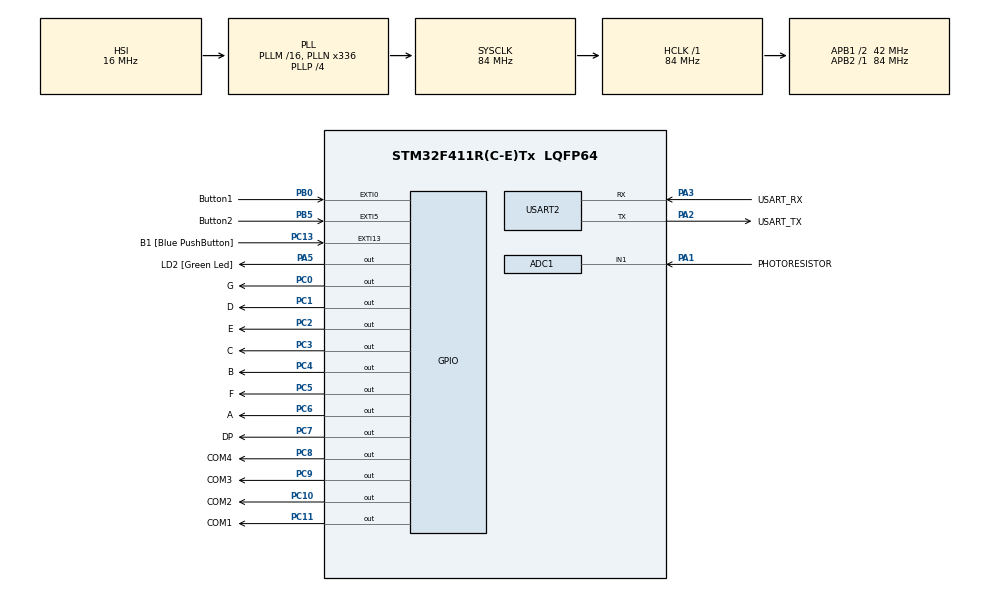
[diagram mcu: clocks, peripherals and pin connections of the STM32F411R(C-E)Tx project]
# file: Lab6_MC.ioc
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ADC1.Channel-0\#ChannelRegularConversion=ADC_CHANNEL_1
ADC1.Channel-1\#ChannelRegularConversion=ADC_CHANNEL_TEMPSENSOR
ADC1.ContinuousConvMode=DISABLE
ADC1.DMAContinuousRequests=ENABLE
ADC1.ExternalTrigConv=ADC_EXTERNALTRIGCONV_T2_TRGO
ADC1.NbrOfConversion=2
ADC1.NbrOfConversionFlag=1
ADC1.Rank-0\#ChannelRegularConversion=1
ADC1.Rank-1\#ChannelRegularConversion=2
ADC1.SamplingTime-0\#ChannelRegularConversion=ADC_SAMPLETIME_480CYCLES
ADC1.SamplingTime-1\#ChannelRegularConversion=ADC_SAMPLETIME_480CYCLES
ADC1.ScanConvMode=ENABLE
ADC1.master=1
Dma.ADC1.2.Direction=DMA_PERIPH_TO_MEMORY
Dma.ADC1.2.FIFOMode=DMA_FIFOMODE_DISABLE
Dma.ADC1.2.Instance=DMA2_Stream0
Dma.ADC1.2.MemDataAlignment=DMA_MDATAALIGN_HALFWORD
Dma.ADC1.2.MemInc=DMA_MINC_ENABLE
Dma.ADC1.2.Mode=DMA_CIRCULAR
Dma.ADC1.2.PeriphDataAlignment=DMA_PDATAALIGN_HALFWORD
Dma.ADC1.2.PeriphInc=DMA_PINC_DISABLE
Dma.ADC1.2.Priority=DMA_PRIORITY_LOW
Dma.Request0=USART2_RX
Dma.Request1=USART2_TX
Dma.Request2=ADC1
Dma.USART2_RX.0.Direction=DMA_PERIPH_TO_MEMORY
Dma.USART2_RX.0.FIFOMode=DMA_FIFOMODE_DISABLE
Dma.USART2_RX.0.Instance=DMA1_Stream5
Dma.USART2_RX.0.MemDataAlignment=DMA_MDATAALIGN_BYTE
Dma.USART2_RX.0.MemInc=DMA_MINC_ENABLE
Dma.USART2_RX.0.Mode=DMA_NORMAL
Dma.USART2_RX.0.PeriphDataAlignment=DMA_PDATAALIGN_BYTE
Dma.USART2_RX.0.PeriphInc=DMA_PINC_DISABLE
Dma.USART2_RX.0.Priority=DMA_PRIORITY_LOW
Dma.USART2_TX.1.Direction=DMA_MEMORY_TO_PERIPH
Dma.USART2_TX.1.FIFOMode=DMA_FIFOMODE_DISABLE
Dma.USART2_TX.1.Instance=DMA1_Stream6
Dma.USART2_TX.1.MemDataAlignment=DMA_MDATAALIGN_BYTE
Dma.USART2_TX.1.MemInc=DMA_MINC_ENABLE
Dma.USART2_TX.1.Mode=DMA_NORMAL
Dma.USART2_TX.1.PeriphDataAlignment=DMA_PDATAALIGN_BYTE
Dma.USART2_TX.1.PeriphInc=DMA_PINC_DISABLE
Dma.USART2_TX.1.Priority=DMA_PRIORITY_LOW
Mcu.Family=STM32F4
Mcu.Name=STM32F411R(C-E)Tx
Mcu.Package=LQFP64
NVIC.DMA1_Stream5_IRQn=true\:0\:0\:false\:false\:true\:false\:true\:true
NVIC.DMA1_Stream6_IRQn=true\:0\:0\:false\:false\:true\:false\:true\:true
NVIC.DMA2_Stream0_IRQn=true\:0\:0\:false\:false\:true\:false\:true\:true
NVIC.EXTI0_IRQn=true\:0\:0\:false\:false\:true\:true\:true\:true
NVIC.EXTI9_5_IRQn=true\:0\:0\:false\:false\:true\:true\:true\:true
NVIC.PriorityGroup=NVIC_PRIORITYGROUP_0
NVIC.TIM1_TRG_COM_TIM11_IRQn=true\:0\:0\:false\:false\:true\:true\:true\:true
NVIC.TIM1_UP_TIM10_IRQn=true\:0\:0\:false\:false\:true\:true\:true\:true
NVIC.USART2_IRQn=true\:0\:0\:false\:false\:true\:true\:true\:true
PA1.GPIO_Label=PHOTORESISTOR
PA1.Signal=ADCx_IN1
PA13.GPIO_Label=TMS
PA13.Mode=Serial_Wire
PA13.Signal=SYS_JTMS-SWDIO
PA14.GPIO_Label=TCK
PA14.Mode=Serial_Wire
PA14.Signal=SYS_JTCK-SWCLK
PA2.GPIO_Label=USART_TX
PA2.Mode=Asynchronous
PA2.Signal=USART2_TX
PA3.GPIO_Label=USART_RX
PA3.Mode=Asynchronous
PA3.Signal=USART2_RX
PA5.GPIO_Label=LD2 [Green Led]
PA5.Signal=GPIO_Output
PB0.GPIO_Label=Button1
PB0.GPIO_ModeDefaultEXTI=GPIO_MODE_IT_FALLING
PB0.GPIO_PuPd=GPIO_PULLUP
PB0.Signal=GPXTI0
PB3.GPIO_Label=SWO
PB3.Signal=SYS_JTDO-SWO
PB5.GPIO_Label=Button2
PB5.GPIO_ModeDefaultEXTI=GPIO_MODE_IT_FALLING
PB5.GPIO_PuPd=GPIO_PULLUP
PB5.Signal=GPXTI5
PC0.GPIO_Label=G
PC0.Signal=GPIO_Output
PC1.GPIO_Label=D
PC1.Signal=GPIO_Output
PC10.GPIO_Label=COM2
PC10.Signal=GPIO_Output
PC11.GPIO_Label=COM1
PC11.Signal=GPIO_Output
PC13-ANTI_TAMP.GPIO_Label=B1 [Blue PushButton]
PC13-ANTI_TAMP.GPIO_ModeDefaultEXTI=GPIO_MODE_IT_FALLING
PC13-ANTI_TAMP.Signal=GPXTI13
PC14-OSC32_IN.Mode=LSE-External-Oscillator
PC14-OSC32_IN.Signal=RCC_OSC32_IN
PC15-OSC32_OUT.Mode=LSE-External-Oscillator
PC15-OSC32_OUT.Signal=RCC_OSC32_OUT
PC2.GPIO_Label=E
PC2.Signal=GPIO_Output
PC3.GPIO_Label=C
PC3.Signal=GPIO_Output
PC4.GPIO_Label=B
PC4.Signal=GPIO_Output
PC5.GPIO_Label=F
PC5.Signal=GPIO_Output
PC6.GPIO_Label=A
PC6.Signal=GPIO_Output
PC7.GPIO_Label=DP
PC7.Signal=GPIO_Output
PC8.GPIO_Label=COM4
PC8.Signal=GPIO_Output
PC9.GPIO_Label=COM3
PC9.Signal=GPIO_Output
PH0\ -\ OSC_IN.Mode=HSE-External-Clock-Source
PH0\ -\ OSC_IN.Signal=RCC_OSC_IN
PH1\ -\ OSC_OUT.Mode=HSE-External-Clock-Source
PH1\ -\ OSC_OUT.Signal=RCC_OSC_OUT
ProjectManager.HeapSize=0x200
ProjectManager.StackSize=0x400
ProjectManager.TargetToolchain=STM32CubeIDE
RCC.48MHZClocksFreq_Value=84000000
RCC.AHBFreq_Value=84000000
RCC.APB1CLKDivider=RCC_HCLK_DIV2
RCC.APB1Freq_Value=42000000
RCC.APB1TimFreq_Value=84000000
RCC.APB2Freq_Value=84000000
RCC.APB2TimFreq_Value=84000000
RCC.CortexFreq_Value=84000000
RCC.FLatency-AdvancedSettings=FLASH_LATENCY_2
RCC.HCLKFreq_Value=84000000
RCC.HSE_VALUE=8000000
RCC.HSI_VALUE=16000000
RCC.PLLN=336
RCC.PLLP=RCC_PLLP_DIV4
RCC.SYSCLKFreq_VALUE=84000000
RCC.SYSCLKSource=RCC_SYSCLKSOURCE_PLLCLK
RCC.VCOOutputFreq_Value=336000000
SH.ADCx_IN1.0=ADC1_IN1,IN1
TIM10.Period=999
TIM10.Prescaler=8399
TIM11.Period=50
TIM11.Prescaler=8399
TIM2.Period=999
TIM2.Prescaler=8399
TIM2.TIM_MasterOutputTrigger=TIM_TRGO_UPDATE
USART2.VirtualMode=VM_ASYNC
VP_ADC1_TempSens_Input.Mode=IN-TempSens
VP_TIM10_VS_ClockSourceINT.Mode=Enable_Timer
VP_TIM11_VS_ClockSourceINT.Mode=Enable_Timer
VP_TIM2_VS_ClockSourceINT.Mode=Internal
board=NUCLEO-F411RE

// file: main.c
/* USER CODE BEGIN Header */
/**
  ******************************************************************************
  * @file           : main.c
  * @brief          : Main program body
  ******************************************************************************
  * @attention
  *
  * Copyright (c) 2023 STMicroelectronics.
  * All rights reserved.
  *
  * This software is licensed under terms that can be found in the LICENSE file
  * in the root directory of this software component.
  * If no LICENSE file comes with this software, it is provided AS-IS.
  *
  ******************************************************************************
  */
/* USER CODE END Header */
#include "main.h"

ADC_HandleTypeDef hadc1;
DMA_HandleTypeDef hdma_adc1;

TIM_HandleTypeDef htim2;
TIM_HandleTypeDef htim10;
TIM_HandleTypeDef htim11;

UART_HandleTypeDef huart2;
DMA_HandleTypeDef hdma_usart2_rx;
DMA_HandleTypeDef hdma_usart2_tx;

/* USER CODE BEGIN PV */
volatile uint16_t number;
volatile uint16_t counter;
volatile uint8_t jed;
volatile uint8_t dzi;
volatile uint8_t set;
volatile uint8_t tys;

volatile uint32_t t2;
volatile uint32_t t1;

volatile uint16_t ADCRes;
volatile uint8_t blink=1;
volatile uint16_t adc_value;

volatile uint8_t buf_tx[100];
volatile uint8_t buf_rx[100];
volatile uint8_t tx_cnt;

volatile uint16_t ADCValues[2];
volatile uint8_t size_ACD = 2;
volatile uint8_t flag = 1;
volatile uint8_t ADC_Ready;

/* USER CODE END PV */

void SystemClock_Config(void);
static void MX_GPIO_Init(void);
static void MX_DMA_Init(void);
static void MX_USART2_UART_Init(void);
static void MX_TIM11_Init(void);
static void MX_ADC1_Init(void);
static void MX_TIM10_Init(void);
static void MX_TIM2_Init(void);
/* USER CODE BEGIN PFP */

void HAL_UART_TxCpltCallback(UART_HandleTypeDef *huart){
	flag = 1;
}

void HAL_TIM_PeriodElapsedCallback(TIM_HandleTypeDef *htim){

	if (htim-> Instance == TIM11){
		show_adc(number);
	}
	else if(htim -> Instance == TIM10){
		HAL_ADC_Start_IT(&hadc1);
	}

}

 /*Funkcja przerwania ADC*/
void  HAL_ADC_ConvCpltCallback(ADC_HandleTypeDef *hadc){
	number = ADCValues[0];
	size_ACD = snprintf(buf_tx, sizeof(buf_tx), "%d,%d\n",ADCValues[0], ADCValues[1]);
	HAL_UART_Transmit_DMA(&huart2, buf_tx, size_ACD);

}

// Funkcja wyświetlająca dany numer z przedziału 0-9
void display_num(num){
	switch(num){
	case 0:
		HAL_GPIO_WritePin(GPIOC, A_Pin, GPIO_PIN_SET);
		HAL_GPIO_WritePin(GPIOC, B_Pin, GPIO_PIN_SET);
		HAL_GPIO_WritePin(GPIOC, C_Pin, GPIO_PIN_SET);
		HAL_GPIO_WritePin(GPIOC, D_Pin, GPIO_PIN_SET);
		HAL_GPIO_WritePin(GPIOC, E_Pin, GPIO_PIN_SET);
		HAL_GPIO_WritePin(GPIOC, F_Pin, GPIO_PIN_SET);
		HAL_GPIO_WritePin(GPIOC, G_Pin, GPIO_PIN_RESET);
	break;

	case 1:
		HAL_GPIO_WritePin(GPIOC, A_Pin, GPIO_PIN_RESET);
		HAL_GPIO_WritePin(GPIOC, B_Pin, GPIO_PIN_SET);
		HAL_GPIO_WritePin(GPIOC, C_Pin, GPIO_PIN_SET);
		HAL_GPIO_WritePin(GPIOC, D_Pin, GPIO_PIN_RESET);
		HAL_GPIO_WritePin(GPIOC, E_Pin, GPIO_PIN_RESET);
		HAL_GPIO_WritePin(GPIOC, F_Pin, GPIO_PIN_RESET);
		HAL_GPIO_WritePin(GPIOC, G_Pin, GPIO_PIN_RESET);
	break;

	case 2:
		HAL_GPIO_WritePin(GPIOC, A_Pin, GPIO_PIN_SET);
		HAL_GPIO_WritePin(GPIOC, B_Pin, GPIO_PIN_SET);
		HAL_GPIO_WritePin(GPIOC, C_Pin, GPIO_PIN_RESET);
		HAL_GPIO_WritePin(GPIOC, D_Pin, GPIO_PIN_SET);
		HAL_GPIO_WritePin(GPIOC, E_Pin, GPIO_PIN_SET);
		HAL_GPIO_WritePin(GPIOC, F_Pin, GPIO_PIN_RESET);
		HAL_GPIO_WritePin(GPIOC, G_Pin, GPIO_PIN_SET);
	break;

	case 3:
		HAL_GPIO_WritePin(GPIOC, A_Pin, GPIO_PIN_SET);
		HAL_GPIO_WritePin(GPIOC, B_Pin, GPIO_PIN_SET);
		HAL_GPIO_WritePin(GPIOC, C_Pin, GPIO_PIN_SET);
		HAL_GPIO_WritePin(GPIOC, D_Pin, GPIO_PIN_SET);
		HAL_GPIO_WritePin(GPIOC, E_Pin, GPIO_PIN_RESET);
		HAL_GPIO_WritePin(GPIOC, F_Pin, GPIO_PIN_RESET);
		HAL_GPIO_WritePin(GPIOC, G_Pin, GPIO_PIN_SET);
	break;

	case 4:
		HAL_GPIO_WritePin(GPIOC, A_Pin, GPIO_PIN_RESET);
		HAL_GPIO_WritePin(GPIOC, B_Pin, GPIO_PIN_SET);
		HAL_GPIO_WritePin(GPIOC, C_Pin, GPIO_PIN_SET);
		HAL_GPIO_WritePin(GPIOC, D_Pin, GPIO_PIN_RESET);
		HAL_GPIO_WritePin(GPIOC, E_Pin, GPIO_PIN_RESET);
		HAL_GPIO_WritePin(GPIOC, F_Pin, GPIO_PIN_SET);
		HAL_GPIO_WritePin(GPIOC, G_Pin, GPIO_PIN_SET);
	break;

	case 5:
		HAL_GPIO_WritePin(GPIOC, A_Pin, GPIO_PIN_SET);
		HAL_GPIO_WritePin(GPIOC, B_Pin, GPIO_PIN_RESET);
		HAL_GPIO_WritePin(GPIOC, C_Pin, GPIO_PIN_SET);
		HAL_GPIO_WritePin(GPIOC, D_Pin, GPIO_PIN_SET);
		HAL_GPIO_WritePin(GPIOC, E_Pin, GPIO_PIN_RESET);
		HAL_GPIO_WritePin(GPIOC, F_Pin, GPIO_PIN_SET);
		HAL_GPIO_WritePin(GPIOC, G_Pin, GPIO_PIN_SET);
	break;

	case 6:
		HAL_GPIO_WritePin(GPIOC, A_Pin, GPIO_PIN_SET);
		HAL_GPIO_WritePin(GPIOC, B_Pin, GPIO_PIN_RESET);
		HAL_GPIO_WritePin(GPIOC, C_Pin, GPIO_PIN_SET);
		HAL_GPIO_WritePin(GPIOC, D_Pin, GPIO_PIN_SET);
		HAL_GPIO_WritePin(GPIOC, E_Pin, GPIO_PIN_SET);
		HAL_GPIO_WritePin(GPIOC, F_Pin, GPIO_PIN_SET);
		HAL_GPIO_WritePin(GPIOC, G_Pin, GPIO_PIN_SET);
	break;

	case 7:
		HAL_GPIO_WritePin(GPIOC, A_Pin, GPIO_PIN_SET);
		HAL_GPIO_WritePin(GPIOC, B_Pin, GPIO_PIN_SET);
		HAL_GPIO_WritePin(GPIOC, C_Pin, GPIO_PIN_SET);
		HAL_GPIO_WritePin(GPIOC, D_Pin, GPIO_PIN_RESET);
		HAL_GPIO_WritePin(GPIOC, E_Pin, GPIO_PIN_RESET);
		HAL_GPIO_WritePin(GPIOC, F_Pin, GPIO_PIN_RESET);
		HAL_GPIO_WritePin(GPIOC, G_Pin, GPIO_PIN_RESET);
	break;

	case 8:
		HAL_GPIO_WritePin(GPIOC, A_Pin, GPIO_PIN_SET);
		HAL_GPIO_WritePin(GPIOC, B_Pin, GPIO_PIN_SET);
		HAL_GPIO_WritePin(GPIOC, C_Pin, GPIO_PIN_SET);
		HAL_GPIO_WritePin(GPIOC, D_Pin, GPIO_PIN_SET);
		HAL_GPIO_WritePin(GPIOC, E_Pin, GPIO_PIN_SET);
		HAL_GPIO_WritePin(GPIOC, F_Pin, GPIO_PIN_SET);
		HAL_GPIO_WritePin(GPIOC, G_Pin, GPIO_PIN_SET);
	break;

	case 9:
		HAL_GPIO_WritePin(GPIOC, A_Pin, GPIO_PIN_SET);
		HAL_GPIO_WritePin(GPIOC, B_Pin, GPIO_PIN_SET);
		HAL_GPIO_WritePin(GPIOC, C_Pin, GPIO_PIN_SET);
		HAL_GPIO_WritePin(GPIOC, D_Pin, GPIO_PIN_SET);
		HAL_GPIO_WritePin(GPIOC, E_Pin, GPIO_PIN_RESET);
		HAL_GPIO_WritePin(GPIOC, F_Pin, GPIO_PIN_SET);
		HAL_GPIO_WritePin(GPIOC, G_Pin, GPIO_PIN_SET);
	break;

	default:
		break;
	}
}

//Resetowanie wszystkich wyświetlaczy
void resetCOMS(){
	HAL_GPIO_WritePin(GPIOC, COM1_Pin, GPIO_PIN_SET);
	HAL_GPIO_WritePin(GPIOC, COM2_Pin, GPIO_PIN_SET);
	HAL_GPIO_WritePin(GPIOC, COM3_Pin, GPIO_PIN_SET);
	HAL_GPIO_WritePin(GPIOC, COM4_Pin, GPIO_PIN_SET);
}

//Funkcja używana przy przerwaniach zewnętrznych - wyświetla podany numer na odpowiedniej liczbie wyświetlaczy
void show_adc(uint16_t number){
	uint8_t thousands,hundreds,tens,ones;

	thousands = (number/1000);
	hundreds = (number%1000)/100;
	tens = (number%100)/10;
	ones = (number%10);

	switch(blink){
	case 1:
		resetCOMS();
		HAL_GPIO_WritePin(GPIOC, COM1_Pin, GPIO_PIN_RESET);
		if (thousands>0){
			display_num(thousands);
		}
		else{
			HAL_GPIO_WritePin(GPIOC, COM1_Pin, GPIO_PIN_SET);
		}
		blink++;
		break;

	case 2:
		resetCOMS();
		HAL_GPIO_WritePin(GPIOC, COM2_Pin, GPIO_PIN_RESET);
		if (hundreds>0){
			display_num(hundreds);
		}

		else if (hundreds == 0 && thousands>0){
			display_num(hundreds);
		}
		else{
			HAL_GPIO_WritePin(GPIOC, COM2_Pin, GPIO_PIN_SET);
		}
		blink++;
		break;
	case 3:
		resetCOMS();
		HAL_GPIO_WritePin(GPIOC, COM3_Pin, GPIO_PIN_RESET);

		if (tens>0){
			display_num(tens);
		}
		else if (tens == 0 && (thousands>0 || hundreds>0)){
			display_num(tens);
		}
		else{
			HAL_GPIO_WritePin(GPIOC, COM3_Pin, GPIO_PIN_SET);
		}
		blink++;
		break;
	case 4:
		resetCOMS();
		HAL_GPIO_WritePin(GPIOC, COM4_Pin, GPIO_PIN_RESET);
		if (ones>=0){
			display_num(ones);
		}else{
			HAL_GPIO_WritePin(GPIOC, COM4_Pin, GPIO_PIN_SET);
		}
		blink = 1;
		break;
	default:
		break;
	}
}

/* USER CODE END PFP */

int main(void)
{

  /* MCU Configuration--------------------------------------------------------*/

  /* Reset of all peripherals, Initializes the Flash interface and the Systick. */
  HAL_Init();

  /* Configure the system clock */
  SystemClock_Config();

  /* Initialize all configured peripherals */
  MX_GPIO_Init();
  MX_DMA_Init();
  MX_USART2_UART_Init();
  MX_TIM11_Init();
  MX_ADC1_Init();
  MX_TIM10_Init();
  MX_TIM2_Init();
  /* USER CODE BEGIN 2 */
  HAL_TIM_Base_Start_IT(&htim11);
  HAL_TIM_Base_Start_IT(&htim10);
  HAL_TIM_Base_Start_IT(&htim2);
  HAL_ADC_Start_DMA(&hadc1, ADCValues, 2);
//  HAL_ADC_Start_IT(&hadc1);

//  tx_cnt = snprintf(buf_tx, sizeof(buf_tx), "String1 = %d\n");
//  HAL_UART_Receive_DMA(&huart2, buf_rx, 2);

  /* USER CODE END 2 */

  /* Infinite loop */
  /* USER CODE BEGIN WHILE */
  while (1)
  {

//	  if (ADC_Ready == 1 && flag == 1)
//	  {
//		ADC_Ready = 0;
//		flag = 0;
//
//
//
//	  }
    /* USER CODE END WHILE */

  }
}

void SystemClock_Config(void)
{
  RCC_OscInitTypeDef RCC_OscInitStruct = {0};
  RCC_ClkInitTypeDef RCC_ClkInitStruct = {0};

  /** Configure the main internal regulator output voltage
  */
  __HAL_RCC_PWR_CLK_ENABLE();
  __HAL_PWR_VOLTAGESCALING_CONFIG(PWR_REGULATOR_VOLTAGE_SCALE1);

  /** Initializes the RCC Oscillators according to the specified parameters
  * in the RCC_OscInitTypeDef structure.
  */
  RCC_OscInitStruct.OscillatorType = RCC_OSCILLATORTYPE_HSI;
  RCC_OscInitStruct.HSIState = RCC_HSI_ON;
  RCC_OscInitStruct.HSICalibrationValue = RCC_HSICALIBRATION_DEFAULT;
  RCC_OscInitStruct.PLL.PLLState = RCC_PLL_ON;
  RCC_OscInitStruct.PLL.PLLSource = RCC_PLLSOURCE_HSI;
  RCC_OscInitStruct.PLL.PLLM = 16;
  RCC_OscInitStruct.PLL.PLLN = 336;
  RCC_OscInitStruct.PLL.PLLP = RCC_PLLP_DIV4;
  RCC_OscInitStruct.PLL.PLLQ = 4;
  if (HAL_RCC_OscConfig(&RCC_OscInitStruct) != HAL_OK)
  {
    Error_Handler();
  }

  /** Initializes the CPU, AHB and APB buses clocks
  */
  RCC_ClkInitStruct.ClockType = RCC_CLOCKTYPE_HCLK|RCC_CLOCKTYPE_SYSCLK
                              |RCC_CLOCKTYPE_PCLK1|RCC_CLOCKTYPE_PCLK2;
  RCC_ClkInitStruct.SYSCLKSource = RCC_SYSCLKSOURCE_PLLCLK;
  RCC_ClkInitStruct.AHBCLKDivider = RCC_SYSCLK_DIV1;
  RCC_ClkInitStruct.APB1CLKDivider = RCC_HCLK_DIV2;
  RCC_ClkInitStruct.APB2CLKDivider = RCC_HCLK_DIV1;

  if (HAL_RCC_ClockConfig(&RCC_ClkInitStruct, FLASH_LATENCY_2) != HAL_OK)
  {
    Error_Handler();
  }
}

static void MX_ADC1_Init(void)
{

  ADC_ChannelConfTypeDef sConfig = {0};

  /** Configure the global features of the ADC (Clock, Resolution, Data Alignment and number of conversion)
  */
  hadc1.Instance = ADC1;
  hadc1.Init.ClockPrescaler = ADC_CLOCK_SYNC_PCLK_DIV4;
  hadc1.Init.Resolution = ADC_RESOLUTION_12B;
  hadc1.Init.ScanConvMode = ENABLE;
  hadc1.Init.ContinuousConvMode = DISABLE;
  hadc1.Init.DiscontinuousConvMode = DISABLE;
  hadc1.Init.ExternalTrigConvEdge = ADC_EXTERNALTRIGCONVEDGE_RISING;
  hadc1.Init.ExternalTrigConv = ADC_EXTERNALTRIGCONV_T2_TRGO;
  hadc1.Init.DataAlign = ADC_DATAALIGN_RIGHT;
  hadc1.Init.NbrOfConversion = 2;
  hadc1.Init.DMAContinuousRequests = ENABLE;
  hadc1.Init.EOCSelection = ADC_EOC_SINGLE_CONV;
  if (HAL_ADC_Init(&hadc1) != HAL_OK)
  {
    Error_Handler();
  }

  /** Configure for the selected ADC regular channel its corresponding rank in the sequencer and its sample time.
  */
  sConfig.Channel = ADC_CHANNEL_1;
  sConfig.Rank = 1;
  sConfig.SamplingTime = ADC_SAMPLETIME_480CYCLES;
  if (HAL_ADC_ConfigChannel(&hadc1, &sConfig) != HAL_OK)
  {
    Error_Handler();
  }

  /** Configure for the selected ADC regular channel its corresponding rank in the sequencer and its sample time.
  */
  sConfig.Channel = ADC_CHANNEL_TEMPSENSOR;
  sConfig.Rank = 2;
  if (HAL_ADC_ConfigChannel(&hadc1, &sConfig) != HAL_OK)
  {
    Error_Handler();
  }

}

static void MX_TIM2_Init(void)
{

  TIM_ClockConfigTypeDef sClockSourceConfig = {0};
  TIM_MasterConfigTypeDef sMasterConfig = {0};

  htim2.Instance = TIM2;
  htim2.Init.Prescaler = 8399;
  htim2.Init.CounterMode = TIM_COUNTERMODE_UP;
  htim2.Init.Period = 999;
  htim2.Init.ClockDivision = TIM_CLOCKDIVISION_DIV1;
  htim2.Init.AutoReloadPreload = TIM_AUTORELOAD_PRELOAD_DISABLE;
  if (HAL_TIM_Base_Init(&htim2) != HAL_OK)
  {
    Error_Handler();
  }
  sClockSourceConfig.ClockSource = TIM_CLOCKSOURCE_INTERNAL;
  if (HAL_TIM_ConfigClockSource(&htim2, &sClockSourceConfig) != HAL_OK)
  {
    Error_Handler();
  }
  sMasterConfig.MasterOutputTrigger = TIM_TRGO_UPDATE;
  sMasterConfig.MasterSlaveMode = TIM_MASTERSLAVEMODE_DISABLE;
  if (HAL_TIMEx_MasterConfigSynchronization(&htim2, &sMasterConfig) != HAL_OK)
  {
    Error_Handler();
  }

}

static void MX_TIM10_Init(void)
{

  htim10.Instance = TIM10;
  htim10.Init.Prescaler = 8399;
  htim10.Init.CounterMode = TIM_COUNTERMODE_UP;
  htim10.Init.Period = 999;
  htim10.Init.ClockDivision = TIM_CLOCKDIVISION_DIV1;
  htim10.Init.AutoReloadPreload = TIM_AUTORELOAD_PRELOAD_DISABLE;
  if (HAL_TIM_Base_Init(&htim10) != HAL_OK)
  {
    Error_Handler();
  }

}

static void MX_TIM11_Init(void)
{

  htim11.Instance = TIM11;
  htim11.Init.Prescaler = 8399;
  htim11.Init.CounterMode = TIM_COUNTERMODE_UP;
  htim11.Init.Period = 50;
  htim11.Init.ClockDivision = TIM_CLOCKDIVISION_DIV1;
  htim11.Init.AutoReloadPreload = TIM_AUTORELOAD_PRELOAD_DISABLE;
  if (HAL_TIM_Base_Init(&htim11) != HAL_OK)
  {
    Error_Handler();
  }

}

static void MX_USART2_UART_Init(void)
{

  huart2.Instance = USART2;
  huart2.Init.BaudRate = 115200;
  huart2.Init.WordLength = UART_WORDLENGTH_8B;
  huart2.Init.StopBits = UART_STOPBITS_1;
  huart2.Init.Parity = UART_PARITY_NONE;
  huart2.Init.Mode = UART_MODE_TX_RX;
  huart2.Init.HwFlowCtl = UART_HWCONTROL_NONE;
  huart2.Init.OverSampling = UART_OVERSAMPLING_16;
  if (HAL_UART_Init(&huart2) != HAL_OK)
  {
    Error_Handler();
  }

}

static void MX_DMA_Init(void)
{

  /* DMA controller clock enable */
  __HAL_RCC_DMA1_CLK_ENABLE();
  __HAL_RCC_DMA2_CLK_ENABLE();

  /* DMA interrupt init */
  /* DMA1_Stream5_IRQn interrupt configuration */
  HAL_NVIC_SetPriority(DMA1_Stream5_IRQn, 0, 0);
  HAL_NVIC_EnableIRQ(DMA1_Stream5_IRQn);
  /* DMA1_Stream6_IRQn interrupt configuration */
  HAL_NVIC_SetPriority(DMA1_Stream6_IRQn, 0, 0);
  HAL_NVIC_EnableIRQ(DMA1_Stream6_IRQn);
  /* DMA2_Stream0_IRQn interrupt configuration */
  HAL_NVIC_SetPriority(DMA2_Stream0_IRQn, 0, 0);
  HAL_NVIC_EnableIRQ(DMA2_Stream0_IRQn);

}

static void MX_GPIO_Init(void)
{
  GPIO_InitTypeDef GPIO_InitStruct = {0};

  /* GPIO Ports Clock Enable */
  __HAL_RCC_GPIOC_CLK_ENABLE();
  __HAL_RCC_GPIOH_CLK_ENABLE();
  __HAL_RCC_GPIOA_CLK_ENABLE();
  __HAL_RCC_GPIOB_CLK_ENABLE();

  /*Configure GPIO pin Output Level */
  HAL_GPIO_WritePin(GPIOC, G_Pin|D_Pin|E_Pin|C_Pin
                          |B_Pin|F_Pin|A_Pin|DP_Pin
                          |COM4_Pin|COM3_Pin|COM2_Pin|COM1_Pin, GPIO_PIN_RESET);

  /*Configure GPIO pin Output Level */
  HAL_GPIO_WritePin(LD2_GPIO_Port, LD2_Pin, GPIO_PIN_RESET);

  /*Configure GPIO pin : B1_Pin */
  GPIO_InitStruct.Pin = B1_Pin;
  GPIO_InitStruct.Mode = GPIO_MODE_IT_FALLING;
  GPIO_InitStruct.Pull = GPIO_NOPULL;
  HAL_GPIO_Init(B1_GPIO_Port, &GPIO_InitStruct);

  /*Configure GPIO pins : G_Pin D_Pin E_Pin C_Pin
                           B_Pin F_Pin A_Pin DP_Pin
                           COM4_Pin COM3_Pin COM2_Pin COM1_Pin */
  GPIO_InitStruct.Pin = G_Pin|D_Pin|E_Pin|C_Pin
                          |B_Pin|F_Pin|A_Pin|DP_Pin
                          |COM4_Pin|COM3_Pin|COM2_Pin|COM1_Pin;
  GPIO_InitStruct.Mode = GPIO_MODE_OUTPUT_PP;
  GPIO_InitStruct.Pull = GPIO_NOPULL;
  GPIO_InitStruct.Speed = GPIO_SPEED_FREQ_LOW;
  HAL_GPIO_Init(GPIOC, &GPIO_InitStruct);

  /*Configure GPIO pin : LD2_Pin */
  GPIO_InitStruct.Pin = LD2_Pin;
  GPIO_InitStruct.Mode = GPIO_MODE_OUTPUT_PP;
  GPIO_InitStruct.Pull = GPIO_NOPULL;
  GPIO_InitStruct.Speed = GPIO_SPEED_FREQ_LOW;
  HAL_GPIO_Init(LD2_GPIO_Port, &GPIO_InitStruct);

  /*Configure GPIO pins : Button1_Pin Button2_Pin */
  GPIO_InitStruct.Pin = Button1_Pin|Button2_Pin;
  GPIO_InitStruct.Mode = GPIO_MODE_IT_FALLING;
  GPIO_InitStruct.Pull = GPIO_PULLUP;
  HAL_GPIO_Init(GPIOB, &GPIO_InitStruct);

  /* EXTI interrupt init*/
  HAL_NVIC_SetPriority(EXTI0_IRQn, 0, 0);
  HAL_NVIC_EnableIRQ(EXTI0_IRQn);

  HAL_NVIC_SetPriority(EXTI9_5_IRQn, 0, 0);
  HAL_NVIC_EnableIRQ(EXTI9_5_IRQn);

}

void Error_Handler(void)
{
  __disable_irq();
  while (1)
  {
  }
}
